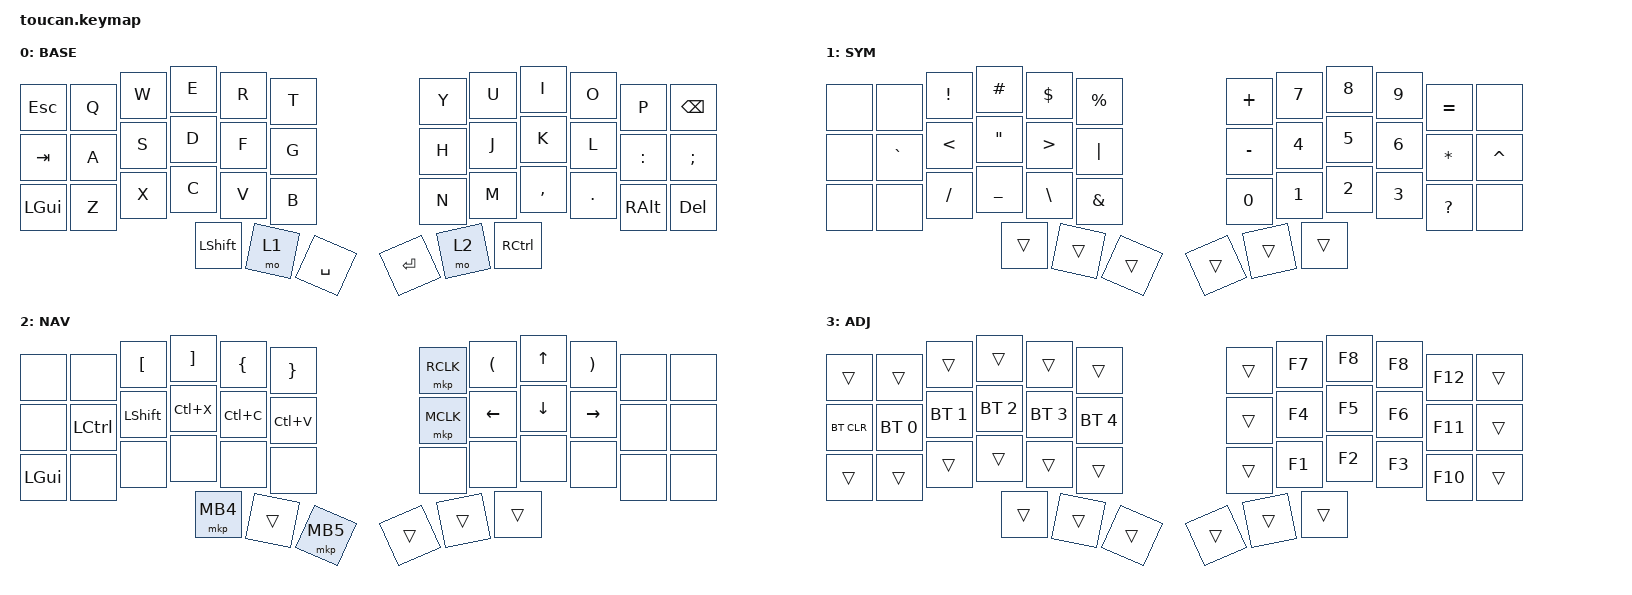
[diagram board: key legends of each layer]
#include <behaviors.dtsi>
#include <dt-bindings/zmk/bt.h>
#include <dt-bindings/zmk/keys.h>
#include <dt-bindings/zmk/pointing.h>

#define BASE 0
#define NAV  1
#define SYM  2
#define ADJ  3

/ {
    conditional_layers {
        compatible = "zmk,conditional-layers";

        tri_layer {
            if-layers = <2 1>;
            then-layer = <3>;
        };
    };

    combos {
        compatible = "zmk,combos";

        j-k_equal {
            bindings = <&kp EQUAL>;
            key-positions = <19 20>;
        };

        l-colon_arrow {
            bindings = <&kp GREATER_THAN>;
            key-positions = <21 22>;
        };
    };

    keymap {
        compatible = "zmk,keymap";

        base {
            display-name = "BASE";
            bindings = <
&kp ESCAPE    &kp Q  &kp W  &kp E           &kp R  &kp T      &kp Y      &kp U  &kp I      &kp O       &kp P          &kp BACKSPACE
&kp TAB       &kp A  &kp S  &kp D           &kp F  &kp G      &kp H      &kp J  &kp K      &kp L       &kp COLON      &kp SEMICOLON
&kp LEFT_GUI  &kp Z  &kp X  &kp C           &kp V  &kp B      &kp N      &kp M  &kp COMMA  &kp PERIOD  &kp RIGHT_ALT  &kp DELETE
                            &kp LEFT_SHIFT  &mo 1  &kp SPACE  &kp ENTER  &mo 2  &kp RCTRL
            >;
        };

        sym {
            display-name = "SYM";
            bindings = <
&none  &none      &kp EXCLAMATION  &kp HASH           &kp DOLLAR        &kp PERCENT    &kp PLUS      &kp NUMBER_7  &kp NUMBER_8  &kp NUMBER_9  &kp EQUAL     &none
&none  &kp GRAVE  &kp LESS_THAN    &kp DOUBLE_QUOTES  &kp GREATER_THAN  &kp PIPE       &kp MINUS     &kp NUMBER_4  &kp N5        &kp NUMBER_6  &kp ASTRK     &kp CARET
&none  &none      &kp SLASH        &kp UNDERSCORE     &kp BACKSLASH     &kp AMPERSAND  &kp NUMBER_0  &kp NUMBER_1  &kp NUMBER_2  &kp NUMBER_3  &kp QUESTION  &none
                                   &trans             &trans            &trans         &trans        &trans        &trans
            >;
        };

        nav {
            display-name = "NAV";
            bindings = <
&none         &none      &kp LEFT_BRACKET  &kp RIGHT_BRACKET  &kp LEFT_BRACE  &kp RIGHT_BRACE  &mkp RCLK  &kp LEFT_PARENTHESIS  &kp UP_ARROW    &kp RIGHT_PARENTHESIS  &none  &none
&none         &kp LCTRL  &kp LEFT_SHIFT    &kp LC(X)          &kp LC(C)       &kp LC(V)        &mkp MCLK  &kp LEFT_ARROW        &kp DOWN_ARROW  &kp RIGHT              &none  &none
&kp LEFT_GUI  &none      &none             &none              &none           &none            &none      &none                 &none           &none                  &none  &none
                                           &mkp MB4           &trans          &mkp MB5         &trans     &trans                &trans
            >;
        };

        adj {
            display-name = "ADJ";
            bindings = <
&trans      &trans        &trans        &trans        &trans        &trans        &trans  &kp F7  &kp F8  &kp F8  &kp F12  &trans
&bt BT_CLR  &bt BT_SEL 0  &bt BT_SEL 1  &bt BT_SEL 2  &bt BT_SEL 3  &bt BT_SEL 4  &trans  &kp F4  &kp F5  &kp F6  &kp F11  &trans
&trans      &trans        &trans        &trans        &trans        &trans        &trans  &kp F1  &kp F2  &kp F3  &kp F10  &trans
                                        &trans        &trans        &trans        &trans  &trans  &trans
            >;
        };

        extra_1 { status = "reserved"; };

        extra_2 { status = "reserved"; };

        extra_3 { status = "reserved"; };
    };
};
